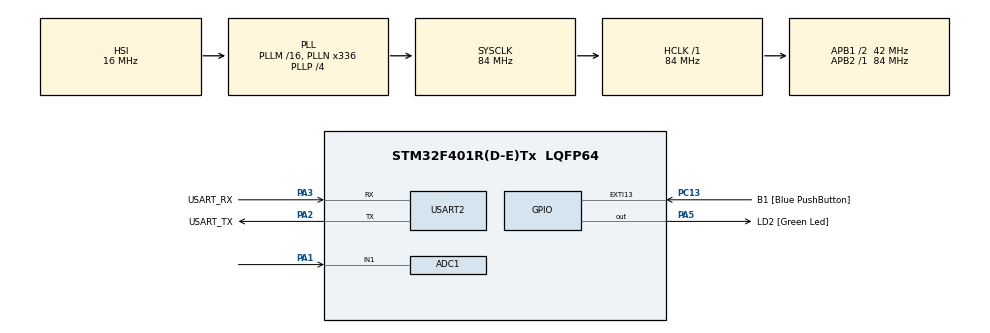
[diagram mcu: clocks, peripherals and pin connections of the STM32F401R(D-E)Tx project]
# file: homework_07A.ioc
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ADC1.Channel-0\#ChannelRegularConversion=ADC_CHANNEL_VREFINT
ADC1.Channel-1\#ChannelRegularConversion=ADC_CHANNEL_1
ADC1.Channel-2\#ChannelRegularConversion=ADC_CHANNEL_TEMPSENSOR
ADC1.DMAContinuousRequests=ENABLE
ADC1.ExternalTrigConv=ADC_EXTERNALTRIGCONV_T2_TRGO
ADC1.NbrOfConversion=3
ADC1.NbrOfConversionFlag=1
ADC1.Rank-0\#ChannelRegularConversion=1
ADC1.Rank-1\#ChannelRegularConversion=2
ADC1.Rank-2\#ChannelRegularConversion=3
ADC1.SamplingTime-0\#ChannelRegularConversion=ADC_SAMPLETIME_480CYCLES
ADC1.SamplingTime-1\#ChannelRegularConversion=ADC_SAMPLETIME_480CYCLES
ADC1.SamplingTime-2\#ChannelRegularConversion=ADC_SAMPLETIME_480CYCLES
ADC1.ScanConvMode=ENABLE
ADC1.master=1
Dma.ADC1.0.Direction=DMA_PERIPH_TO_MEMORY
Dma.ADC1.0.FIFOMode=DMA_FIFOMODE_DISABLE
Dma.ADC1.0.Instance=DMA2_Stream0
Dma.ADC1.0.MemDataAlignment=DMA_MDATAALIGN_HALFWORD
Dma.ADC1.0.MemInc=DMA_MINC_ENABLE
Dma.ADC1.0.Mode=DMA_CIRCULAR
Dma.ADC1.0.PeriphDataAlignment=DMA_PDATAALIGN_HALFWORD
Dma.ADC1.0.PeriphInc=DMA_PINC_DISABLE
Dma.ADC1.0.Priority=DMA_PRIORITY_LOW
Dma.Request0=ADC1
Dma.Request1=USART2_TX
Dma.USART2_TX.1.Direction=DMA_MEMORY_TO_PERIPH
Dma.USART2_TX.1.FIFOMode=DMA_FIFOMODE_DISABLE
Dma.USART2_TX.1.Instance=DMA1_Stream6
Dma.USART2_TX.1.MemDataAlignment=DMA_MDATAALIGN_BYTE
Dma.USART2_TX.1.MemInc=DMA_MINC_ENABLE
Dma.USART2_TX.1.Mode=DMA_NORMAL
Dma.USART2_TX.1.PeriphDataAlignment=DMA_PDATAALIGN_BYTE
Dma.USART2_TX.1.PeriphInc=DMA_PINC_DISABLE
Dma.USART2_TX.1.Priority=DMA_PRIORITY_LOW
Mcu.Family=STM32F4
Mcu.Name=STM32F401R(D-E)Tx
Mcu.Package=LQFP64
NVIC.ADC_IRQn=true\:0\:0\:false\:false\:true\:true\:true\:true
NVIC.DMA1_Stream6_IRQn=true\:0\:0\:false\:false\:true\:false\:true\:true
NVIC.DMA2_Stream0_IRQn=true\:0\:0\:false\:false\:true\:false\:true\:true
NVIC.PriorityGroup=NVIC_PRIORITYGROUP_4
NVIC.USART2_IRQn=true\:0\:0\:false\:false\:true\:true\:true\:true
PA1.Signal=ADCx_IN1
PA13.GPIO_Label=TMS
PA13.Mode=Trace_Asynchronous_SW
PA13.Signal=SYS_JTMS-SWDIO
PA14.GPIO_Label=TCK
PA14.Mode=Trace_Asynchronous_SW
PA14.Signal=SYS_JTCK-SWCLK
PA2.GPIO_Label=USART_TX
PA2.GPIO_Mode=GPIO_MODE_AF_PP
PA2.GPIO_PuPd=GPIO_NOPULL
PA2.GPIO_Speed=GPIO_SPEED_FREQ_LOW
PA2.Mode=Asynchronous
PA2.Signal=USART2_TX
PA3.GPIO_Label=USART_RX
PA3.GPIO_Mode=GPIO_MODE_AF_PP
PA3.GPIO_PuPd=GPIO_NOPULL
PA3.GPIO_Speed=GPIO_SPEED_FREQ_LOW
PA3.Mode=Asynchronous
PA3.Signal=USART2_RX
PA5.GPIO_Label=LD2 [Green Led]
PA5.GPIO_Mode=GPIO_MODE_OUTPUT_PP
PA5.GPIO_PuPd=GPIO_NOPULL
PA5.GPIO_Speed=GPIO_SPEED_FREQ_LOW
PA5.Signal=GPIO_Output
PB3.GPIO_Label=SWO
PB3.Mode=Trace_Asynchronous_SW
PB3.Signal=SYS_JTDO-SWO
PC13-ANTI_TAMP.GPIO_Label=B1 [Blue PushButton]
PC13-ANTI_TAMP.GPIO_ModeDefaultEXTI=GPIO_MODE_IT_FALLING
PC13-ANTI_TAMP.GPIO_PuPd=GPIO_NOPULL
PC13-ANTI_TAMP.Signal=GPXTI13
PC14-OSC32_IN.Mode=LSE-External-Oscillator
PC14-OSC32_IN.Signal=RCC_OSC32_IN
PC15-OSC32_OUT.Mode=LSE-External-Oscillator
PC15-OSC32_OUT.Signal=RCC_OSC32_OUT
PH0\ -\ OSC_IN.Mode=HSE-External-Clock-Source
PH0\ -\ OSC_IN.Signal=RCC_OSC_IN
PH1\ -\ OSC_OUT.Mode=HSE-External-Clock-Source
PH1\ -\ OSC_OUT.Signal=RCC_OSC_OUT
ProjectManager.HeapSize=0x200
ProjectManager.StackSize=0x400
ProjectManager.TargetToolchain=CMake
RCC.48MHZClocksFreq_Value=48000000
RCC.AHBFreq_Value=84000000
RCC.APB1CLKDivider=RCC_HCLK_DIV2
RCC.APB1Freq_Value=42000000
RCC.APB1TimFreq_Value=84000000
RCC.APB2Freq_Value=84000000
RCC.APB2TimFreq_Value=84000000
RCC.CortexFreq_Value=84000000
RCC.HCLKFreq_Value=84000000
RCC.HSE_VALUE=8000000
RCC.HSI_VALUE=16000000
RCC.PLLN=336
RCC.PLLP=RCC_PLLP_DIV4
RCC.PLLQ=7
RCC.SYSCLKFreq_VALUE=84000000
RCC.SYSCLKSource=RCC_SYSCLKSOURCE_PLLCLK
RCC.VCOOutputFreq_Value=336000000
SH.ADCx_IN1.0=ADC1_IN1,IN1
TIM2.Period=10000-1
TIM2.Prescaler=8400-1
TIM2.TIM_MasterOutputTrigger=TIM_TRGO_UPDATE
USART2.VirtualMode=VM_ASYNC
VP_ADC1_TempSens_Input.Mode=IN-TempSens
VP_ADC1_Vref_Input.Mode=IN-Vrefint
VP_TIM2_VS_ClockSourceINT.Mode=Internal
board=NUCLEO-F401RE

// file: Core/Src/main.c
/* USER CODE BEGIN Header */
/**
  ******************************************************************************
  * @file           : main.c
  * @brief          : Main program body
  ******************************************************************************
  * @attention
  *
  * Copyright (c) 2026 STMicroelectronics.
  * All rights reserved.
  *
  * This software is licensed under terms that can be found in the LICENSE file
  * in the root directory of this software component.
  * If no LICENSE file comes with this software, it is provided AS-IS.
  *
  ******************************************************************************
  */
/* USER CODE END Header */
#include "main.h"

/* USER CODE BEGIN Includes */
#include "stdio.h"
#include "string.h"
/* USER CODE END Includes */

ADC_HandleTypeDef hadc1;
DMA_HandleTypeDef hdma_adc1;

TIM_HandleTypeDef htim2;

UART_HandleTypeDef huart2;
DMA_HandleTypeDef hdma_usart2_tx;

/* USER CODE BEGIN PV */
uint16_t adc_buffer[3];
float v_pot, t_temp, v_sense, v_ref;
char msg[128];
int length;
/* USER CODE END PV */

void SystemClock_Config(void);
static void MX_GPIO_Init(void);
static void MX_DMA_Init(void);
static void MX_ADC1_Init(void);
static void MX_USART2_UART_Init(void);
static void MX_TIM2_Init(void);

int main(void)
{

  /* MCU Configuration--------------------------------------------------------*/

  /* Reset of all peripherals, Initializes the Flash interface and the Systick. */
  HAL_Init();

  /* Configure the system clock */
  SystemClock_Config();

  /* Initialize all configured peripherals */
  MX_GPIO_Init();
  MX_DMA_Init();
  MX_ADC1_Init();
  MX_USART2_UART_Init();
  MX_TIM2_Init();
  /* USER CODE BEGIN 2 */
  HAL_TIM_Base_Start(&htim2);
  HAL_ADC_Start_DMA(&hadc1, (uint32_t*)adc_buffer, 3);

  /* USER CODE END 2 */

  /* Infinite loop */
  while (1)
  {

  }
}

void SystemClock_Config(void)
{
  RCC_OscInitTypeDef RCC_OscInitStruct = {0};
  RCC_ClkInitTypeDef RCC_ClkInitStruct = {0};

  /** Configure the main internal regulator output voltage
  */
  __HAL_RCC_PWR_CLK_ENABLE();
  __HAL_PWR_VOLTAGESCALING_CONFIG(PWR_REGULATOR_VOLTAGE_SCALE2);

  /** Initializes the RCC Oscillators according to the specified parameters
  * in the RCC_OscInitTypeDef structure.
  */
  RCC_OscInitStruct.OscillatorType = RCC_OSCILLATORTYPE_HSI;
  RCC_OscInitStruct.HSIState = RCC_HSI_ON;
  RCC_OscInitStruct.HSICalibrationValue = RCC_HSICALIBRATION_DEFAULT;
  RCC_OscInitStruct.PLL.PLLState = RCC_PLL_ON;
  RCC_OscInitStruct.PLL.PLLSource = RCC_PLLSOURCE_HSI;
  RCC_OscInitStruct.PLL.PLLM = 16;
  RCC_OscInitStruct.PLL.PLLN = 336;
  RCC_OscInitStruct.PLL.PLLP = RCC_PLLP_DIV4;
  RCC_OscInitStruct.PLL.PLLQ = 7;
  if (HAL_RCC_OscConfig(&RCC_OscInitStruct) != HAL_OK)
  {
    Error_Handler();
  }

  /** Initializes the CPU, AHB and APB buses clocks
  */
  RCC_ClkInitStruct.ClockType = RCC_CLOCKTYPE_HCLK|RCC_CLOCKTYPE_SYSCLK
                              |RCC_CLOCKTYPE_PCLK1|RCC_CLOCKTYPE_PCLK2;
  RCC_ClkInitStruct.SYSCLKSource = RCC_SYSCLKSOURCE_PLLCLK;
  RCC_ClkInitStruct.AHBCLKDivider = RCC_SYSCLK_DIV1;
  RCC_ClkInitStruct.APB1CLKDivider = RCC_HCLK_DIV2;
  RCC_ClkInitStruct.APB2CLKDivider = RCC_HCLK_DIV1;

  if (HAL_RCC_ClockConfig(&RCC_ClkInitStruct, FLASH_LATENCY_2) != HAL_OK)
  {
    Error_Handler();
  }
}

static void MX_ADC1_Init(void)
{

  ADC_ChannelConfTypeDef sConfig = {0};

  /** Configure the global features of the ADC (Clock, Resolution, Data Alignment and number of conversion)
  */
  hadc1.Instance = ADC1;
  hadc1.Init.ClockPrescaler = ADC_CLOCK_SYNC_PCLK_DIV4;
  hadc1.Init.Resolution = ADC_RESOLUTION_12B;
  hadc1.Init.ScanConvMode = ENABLE;
  hadc1.Init.ContinuousConvMode = DISABLE;
  hadc1.Init.DiscontinuousConvMode = DISABLE;
  hadc1.Init.ExternalTrigConvEdge = ADC_EXTERNALTRIGCONVEDGE_RISING;
  hadc1.Init.ExternalTrigConv = ADC_EXTERNALTRIGCONV_T2_TRGO;
  hadc1.Init.DataAlign = ADC_DATAALIGN_RIGHT;
  hadc1.Init.NbrOfConversion = 3;
  hadc1.Init.DMAContinuousRequests = ENABLE;
  hadc1.Init.EOCSelection = ADC_EOC_SINGLE_CONV;
  if (HAL_ADC_Init(&hadc1) != HAL_OK)
  {
    Error_Handler();
  }

  /** Configure for the selected ADC regular channel its corresponding rank in the sequencer and its sample time.
  */
  sConfig.Channel = ADC_CHANNEL_VREFINT;
  sConfig.Rank = 1;
  sConfig.SamplingTime = ADC_SAMPLETIME_480CYCLES;
  if (HAL_ADC_ConfigChannel(&hadc1, &sConfig) != HAL_OK)
  {
    Error_Handler();
  }

  /** Configure for the selected ADC regular channel its corresponding rank in the sequencer and its sample time.
  */
  sConfig.Channel = ADC_CHANNEL_1;
  sConfig.Rank = 2;
  if (HAL_ADC_ConfigChannel(&hadc1, &sConfig) != HAL_OK)
  {
    Error_Handler();
  }

  /** Configure for the selected ADC regular channel its corresponding rank in the sequencer and its sample time.
  */
  sConfig.Channel = ADC_CHANNEL_TEMPSENSOR;
  sConfig.Rank = 3;
  if (HAL_ADC_ConfigChannel(&hadc1, &sConfig) != HAL_OK)
  {
    Error_Handler();
  }

}

static void MX_TIM2_Init(void)
{

  TIM_ClockConfigTypeDef sClockSourceConfig = {0};
  TIM_MasterConfigTypeDef sMasterConfig = {0};

  htim2.Instance = TIM2;
  htim2.Init.Prescaler = 8400-1;
  htim2.Init.CounterMode = TIM_COUNTERMODE_UP;
  htim2.Init.Period = 10000-1;
  htim2.Init.ClockDivision = TIM_CLOCKDIVISION_DIV1;
  htim2.Init.AutoReloadPreload = TIM_AUTORELOAD_PRELOAD_DISABLE;
  if (HAL_TIM_Base_Init(&htim2) != HAL_OK)
  {
    Error_Handler();
  }
  sClockSourceConfig.ClockSource = TIM_CLOCKSOURCE_INTERNAL;
  if (HAL_TIM_ConfigClockSource(&htim2, &sClockSourceConfig) != HAL_OK)
  {
    Error_Handler();
  }
  sMasterConfig.MasterOutputTrigger = TIM_TRGO_UPDATE;
  sMasterConfig.MasterSlaveMode = TIM_MASTERSLAVEMODE_DISABLE;
  if (HAL_TIMEx_MasterConfigSynchronization(&htim2, &sMasterConfig) != HAL_OK)
  {
    Error_Handler();
  }

}

static void MX_USART2_UART_Init(void)
{

  huart2.Instance = USART2;
  huart2.Init.BaudRate = 115200;
  huart2.Init.WordLength = UART_WORDLENGTH_8B;
  huart2.Init.StopBits = UART_STOPBITS_1;
  huart2.Init.Parity = UART_PARITY_NONE;
  huart2.Init.Mode = UART_MODE_TX_RX;
  huart2.Init.HwFlowCtl = UART_HWCONTROL_NONE;
  huart2.Init.OverSampling = UART_OVERSAMPLING_16;
  if (HAL_UART_Init(&huart2) != HAL_OK)
  {
    Error_Handler();
  }

}

static void MX_DMA_Init(void)
{

  /* DMA controller clock enable */
  __HAL_RCC_DMA2_CLK_ENABLE();
  __HAL_RCC_DMA1_CLK_ENABLE();

  /* DMA interrupt init */
  /* DMA1_Stream6_IRQn interrupt configuration */
  HAL_NVIC_SetPriority(DMA1_Stream6_IRQn, 0, 0);
  HAL_NVIC_EnableIRQ(DMA1_Stream6_IRQn);
  /* DMA2_Stream0_IRQn interrupt configuration */
  HAL_NVIC_SetPriority(DMA2_Stream0_IRQn, 0, 0);
  HAL_NVIC_EnableIRQ(DMA2_Stream0_IRQn);

}

static void MX_GPIO_Init(void)
{
  GPIO_InitTypeDef GPIO_InitStruct = {0};

  /* GPIO Ports Clock Enable */
  __HAL_RCC_GPIOC_CLK_ENABLE();
  __HAL_RCC_GPIOH_CLK_ENABLE();
  __HAL_RCC_GPIOA_CLK_ENABLE();
  __HAL_RCC_GPIOB_CLK_ENABLE();

  /*Configure GPIO pin Output Level */
  HAL_GPIO_WritePin(LD2_GPIO_Port, LD2_Pin, GPIO_PIN_RESET);

  /*Configure GPIO pin : B1_Pin */
  GPIO_InitStruct.Pin = B1_Pin;
  GPIO_InitStruct.Mode = GPIO_MODE_IT_FALLING;
  GPIO_InitStruct.Pull = GPIO_NOPULL;
  HAL_GPIO_Init(B1_GPIO_Port, &GPIO_InitStruct);

  /*Configure GPIO pin : LD2_Pin */
  GPIO_InitStruct.Pin = LD2_Pin;
  GPIO_InitStruct.Mode = GPIO_MODE_OUTPUT_PP;
  GPIO_InitStruct.Pull = GPIO_NOPULL;
  GPIO_InitStruct.Speed = GPIO_SPEED_FREQ_LOW;
  HAL_GPIO_Init(LD2_GPIO_Port, &GPIO_InitStruct);

}

/* USER CODE BEGIN 4 */
void HAL_ADC_ConvCpltCallback(ADC_HandleTypeDef* hadc)
{
  if (hadc == &hadc1)
  {
    v_ref = adc_buffer[0] * 3.3 / 4095;
    v_pot = adc_buffer[1] * 3.3 / 4095;
    v_sense = adc_buffer[2] * 3.3 / 4095;
    t_temp = ((v_sense - 0.76) / 0.0025) + 25;

    length = sprintf(msg, "Vref: %.2f V, Potentiometer: %.2f V, Temperature: %.2f °C\r\n", v_ref, v_pot, t_temp);
    HAL_UART_Transmit_DMA(&huart2, (uint8_t*)msg, length);
  }
}
/* USER CODE END 4 */

void Error_Handler(void)
{
  __disable_irq();
  while (1)
  {
  }
}
